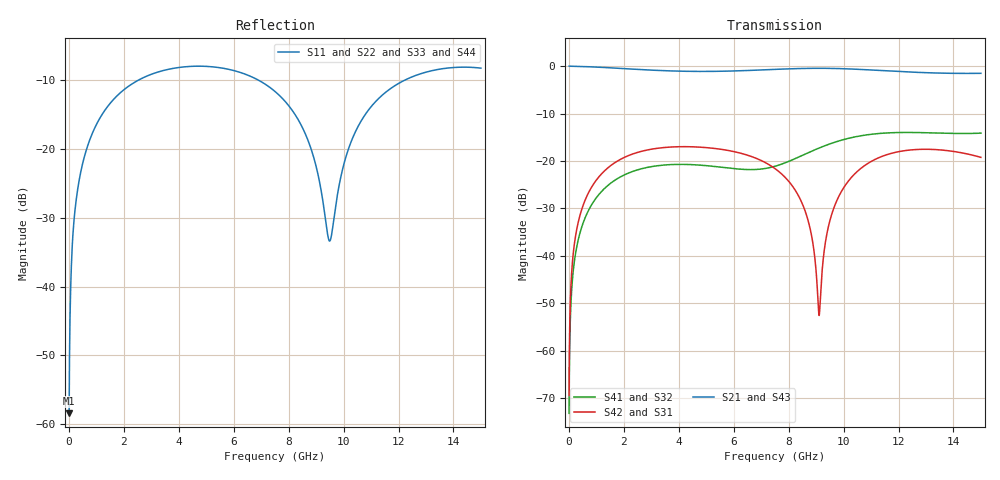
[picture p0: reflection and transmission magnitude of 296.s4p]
! Created with skrf 1.8.0 (http://scikit-rf.org).
# GHz S RI R 50.0
!freq ReS11 ImS11 ReS12 ImS12 ReS13 ImS13
! ReS14 ImS14
! ReS21 ImS21 ReS22 ImS22 ReS23 ImS23
! ReS24 ImS24
! ReS31 ImS31 ReS32 ImS32 ReS33 ImS33
! ReS34 ImS34
! ReS41 ImS41 ReS42 ImS42 ReS43 ImS43
! ReS44 ImS44
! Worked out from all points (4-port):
!   2499 points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, 5 MHz to 15 GHz, reference 50 ohm
!   strongest paths, dB at 5 MHz, 3.476 GHz, 7.19 GHz, 11.1 GHz, 15 GHz:
!     S21: 0.0, -1.0, -0.8, -0.8, -1.5
!     S43: 0.0, -1.0, -0.8, -0.8, -1.5
!     S42: -69.4, -17.1, -20.5, -19.8, -19.2
!     S31: -69.4, -17.1, -20.5, -19.7, -19.5
!     S41: -73.2, -20.8, -21.5, -14.3, -14.1
!     S32: -73.2, -20.9, -21.6, -14.3, -14.2
!   lowest |S11| = -58.4 dB at 5 MHz (marker M1), VSWR 1.00, Z = 50.1 + j0.073 ohm
!   |S11| at or under -10 dB: start of sweep to 2.518 GHz; 6.909 GHz to 12.22 GHz (5.308 GHz wide, 55.5 % of centre)
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0.005  0.000951 0.000729  0.999 -0.00186  4.47e-05 0.000336  -4.37e-05 -0.000215
       0.999 -0.00186  0.000951 0.000729  -4.37e-05 -0.000215  4.47e-05 0.000336
       4.47e-05 0.000336  -4.37e-05 -0.000215  0.000951 0.000729  0.999 -0.00186
       -4.37e-05 -0.000215  4.47e-05 0.000336  0.999 -0.00186  0.000951 0.000729
0.4126719  0.0145 0.064  0.9801 -0.153  0.00594 0.0269  -0.005 -0.0173
           0.9801 -0.153  0.0145 0.064  -0.005 -0.0173  0.00594 0.0269
           0.00594 0.0269  -0.005 -0.0173  0.0145 0.064  0.9801 -0.153
           -0.005 -0.0173  0.00594 0.0269  0.9801 -0.153  0.0145 0.064
1.975823  0.1821 0.196  0.7202 -0.6081  0.0829 0.069  -0.0643 -0.0289
          0.7202 -0.6081  0.1822 0.196  -0.0642 -0.0289  0.0829 0.069
          0.0829 0.069  -0.0642 -0.0289  0.1822 0.196  0.7202 -0.6081
          -0.0643 -0.0289  0.0829 0.069  0.7202 -0.6081  0.1822 0.196
7.565652  0.1739 -0.1876  -0.6921 -0.6151  0.0384 -0.0708  -0.0381 0.0806
          -0.6921 -0.6151  0.1732 -0.1884  -0.0395 0.0793  0.0381 -0.0711
          0.0384 -0.0708  -0.0395 0.0793  0.1736 -0.1889  -0.6919 -0.6149
          -0.0381 0.0806  0.0381 -0.0711  -0.6919 -0.6149  0.1744 -0.188
9.103793  0.0282 -0.0536  -0.9319 -0.1799  -0.0016 0.000236  -0.0204 0.1354
          -0.9319 -0.1799  0.0269 -0.0537  -0.0232 0.1349  -0.00238 1.27e-05
          -0.0016 0.000236  -0.0232 0.1349  0.0266 -0.0548  -0.9318 -0.1799
          -0.0204 0.1354  -0.00238 1.27e-05  -0.9318 -0.1799  0.0289 -0.0543
10.47937  0.0693 0.1214  -0.8867 0.2706  0.0513 0.0578  0.0684 0.1678
          -0.8867 0.2706  0.0684 0.1222  0.0651 0.1691  0.0505 0.0578
          0.0513 0.0578  0.0651 0.1691  0.067 0.1214  -0.8868 0.2707
          0.0684 0.1678  0.0505 0.0578  -0.8868 0.2707  0.0701 0.1202
15  0.383 -0.0601  0.1069 0.833  0.0585 -0.0884  0.1867 -0.0623
    0.1069 0.833  0.3823 -0.0598  0.1878 -0.0564  0.057 -0.0933
    0.0585 -0.0884  0.1878 -0.0564  0.3833 -0.0587  0.1078 0.8329
    0.1867 -0.0623  0.057 -0.0933  0.1078 0.8329  0.3813 -0.062
